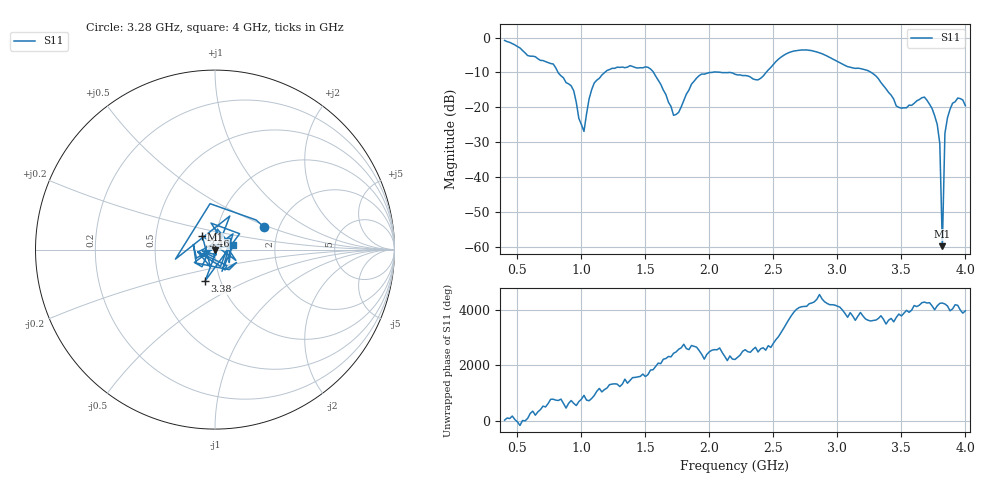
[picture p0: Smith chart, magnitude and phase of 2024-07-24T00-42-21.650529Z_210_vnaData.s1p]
!Created with skrf (http://scikit-rf.org).
# Hz S RI R 50.0
!freq ReS11 ImS11
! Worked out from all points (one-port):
!   181 points, 400 MHz to 4 GHz, reference 50 ohm
!   lowest |S11| = -59.9 dB at 3.82 GHz (marker M1), VSWR 1.00, Z = 50 - j0.093 ohm
!   |S11| at or under -10 dB: 817.6 MHz to 1.183 GHz (365 MHz wide, 36.5 % of centre); 1.564 GHz to 2.021 GHz (457.2 MHz wide, 25.5 % of centre); 3.263 GHz to end of sweep (the widest 3 of 4)
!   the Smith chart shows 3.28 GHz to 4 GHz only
!   S11 on the Smith chart (normalised r, x): 3.28 GHz: 1.68, +0.46; 3.38 GHz: 0.84, -0.31; 3.46 GHz: 0.86, +0.13; 4 GHz: 1.23, +0.06
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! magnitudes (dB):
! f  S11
! 400 MHz  -0.8
! 860 MHz  -11.6
! 940 MHz  -15.3
! 980 MHz  -23.2
! 1.02 GHz  -26.9
! 1.06 GHz  -17.6
! 1.1 GHz  -13.0
! 1.3 GHz  -8.6
! 1.54 GHz  -9.0
! 1.72 GHz  -22.3
! 1.76 GHz  -21.4
! 1.92 GHz  -10.9
! 2.2 GHz  -10.5
! 2.38 GHz  -12.1
! 2.66 GHz  -3.9
! 3.1 GHz  -8.5
! 3.28 GHz  -10.4
! 3.38 GHz  -14.7
! 3.46 GHz  -19.6
! 3.56 GHz  -19.4
! 3.68 GHz  -17.1
! 3.78 GHz  -24.9
! 3.8 GHz  -30.4
! 3.82 GHz  -59.9
! 3.84 GHz  -27.5
! 3.86 GHz  -23.0
! 3.94 GHz  -17.4
! 4 GHz  -19.6
